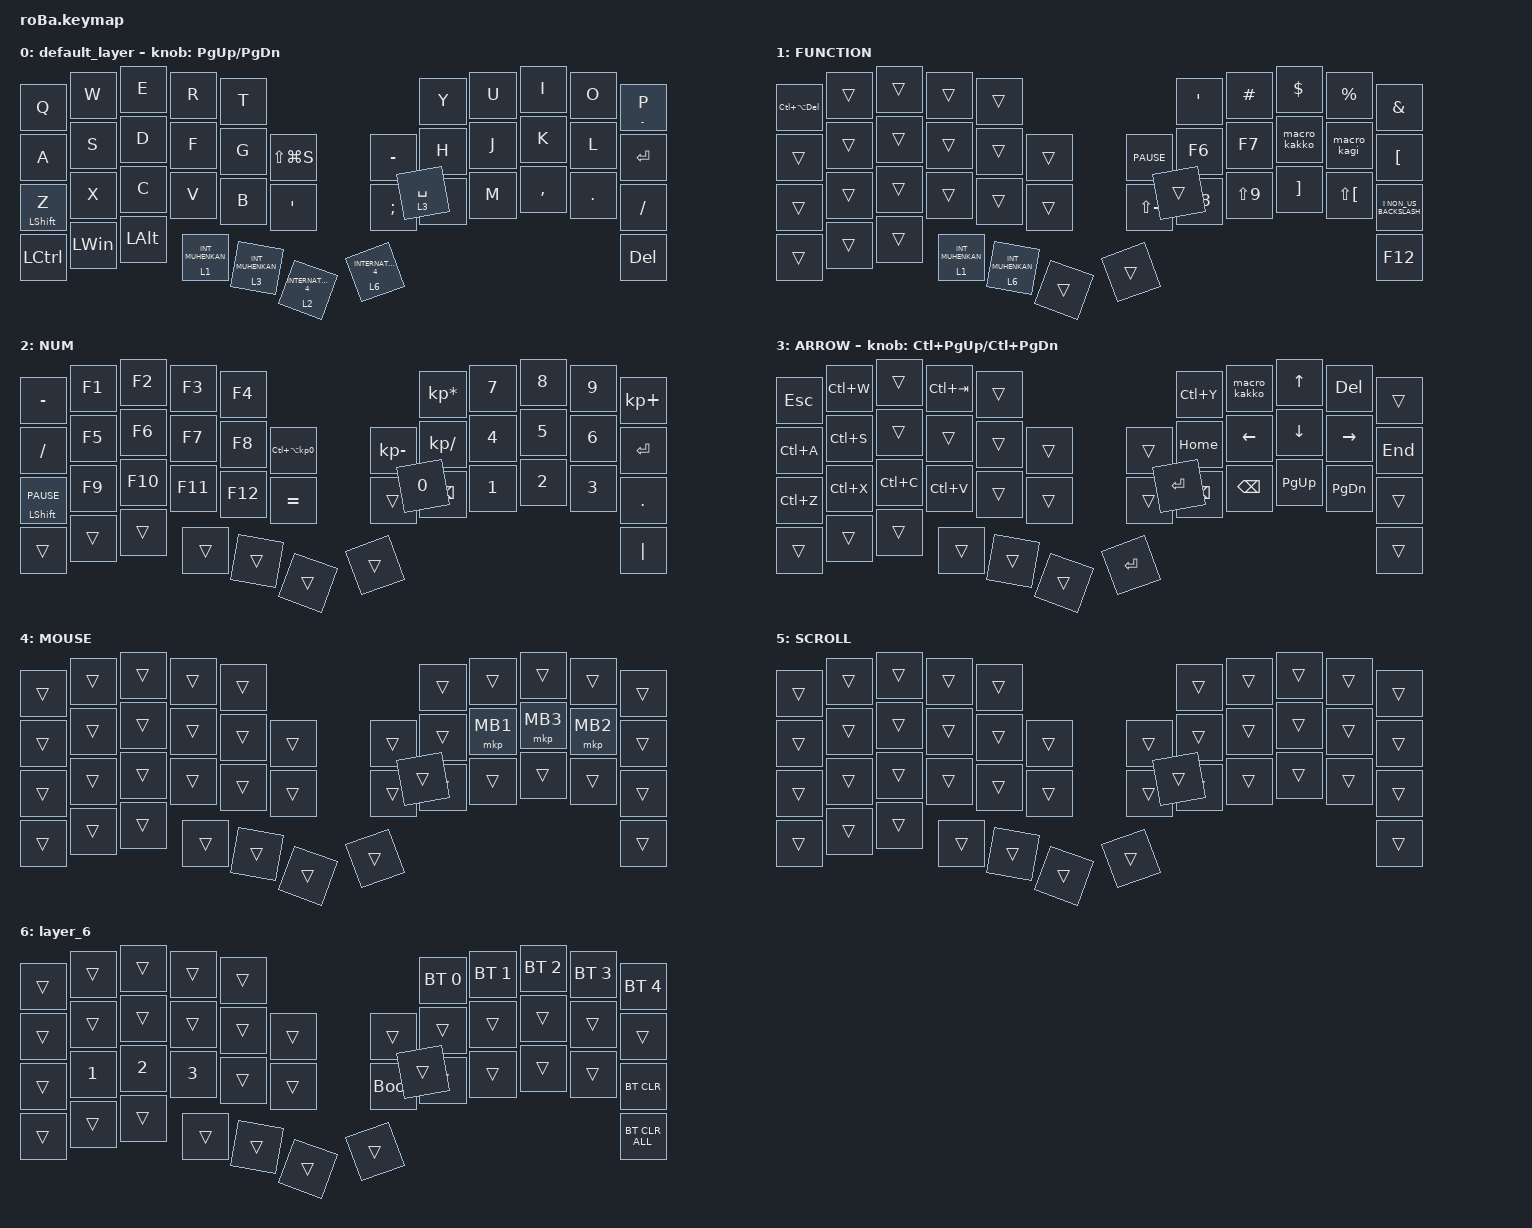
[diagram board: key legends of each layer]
#include <behaviors.dtsi>
#include <dt-bindings/zmk/bt.h>
#include <dt-bindings/zmk/keys.h>
#include <dt-bindings/zmk/pointing.h>

&mt {
    flavor = "tap-preferred";
    quick-tap-ms = <0>;
    tapping-term-ms = <280>;
};

&trackball {
    automouse-layer = <4>;
    scroll-layers = <5>;

    // arrows {
    //     layers = <3>;
    //     bindings =
    //         <&kp RIGHT_ARROW>,
    //         <&kp LEFT_ARROW>,
    //         <&kp UP_ARROW>,
    //         <&kp DOWN_ARROW>;
    //     tick = <10>;
    //     wait-ms = <5>;
    //     tap-ms = <5>;
    // };
};

/ {
    combos {
        compatible = "zmk,combos";

        tab {
            bindings = <&kp TAB>;
            key-positions = <11 12>;
        };

        shift_tab {
            bindings = <&kp LS(TAB)>;
            key-positions = <12 13>;
        };

        muhennkann {
            bindings = <&to_layer_0 INT_MUHENKAN>;
            key-positions = <11 10>;
        };

        double_quotation {
            bindings = <&kp DOUBLE_QUOTES>;
            key-positions = <20 21>;
        };

        eq {
            bindings = <&kp EQUAL>;
            key-positions = <24 25>;
        };

        minus {
            bindings = <&kp MINUS>;
            key-positions = <9 8>;
        };
    };

    macros {
        to_layer_0: to_layer_0 {
            compatible = "zmk,behavior-macro-one-param";
            #binding-cells = <1>;
            bindings = <&to 0 &macro_param_1to1 &kp MACRO_PLACEHOLDER>;
            label = "TO_LAYER_0";
        };

        macro_kakko: macro_kakko {
            compatible = "zmk,behavior-macro";
            #binding-cells = <0>;
            bindings =
                <&kp LS(N8)>,
                <&macro_wait_time 15>,
                <&kp LS(N9)>,
                <&macro_wait_time 15>,
                <&kp RET>,
                <&macro_wait_time 15>,
                <&kp LEFT>;

            label = "MACRO_KAKKO";
        };

        macro_kagi: macro_kagi {
            compatible = "zmk,behavior-macro";
            #binding-cells = <0>;
            bindings =
                <&kp LEFT_BRACKET>,
                <&macro_wait_time 15>,
                <&kp RIGHT_BRACKET>,
                <&macro_wait_time 15>,
                <&kp RET>,
                <&macro_wait_time 15>,
                <&kp LEFT>;

            label = "MACRO_KAGI";
        };
    };

    behaviors {
        lt_to_layer_0: lt_to_layer_0 {
            compatible = "zmk,behavior-hold-tap";
            label = "LAYER_TAP_TO_0";
            bindings = <&mo>, <&to_layer_0>;

            #binding-cells = <2>;
            tapping-term-ms = <200>;
        };
    };

    keymap {
        compatible = "zmk,keymap";

        default_layer {
            bindings = <
&kp Q             &kp W         &kp E         &kp R                          &kp T                                                                                                  &kp Y                   &kp U  &kp I      &kp O    &mt MINUS P
&kp A             &kp S         &kp D         &kp F                          &kp G                          &kp LS(LG(S))                         &kp MINUS                         &kp H                   &kp J  &kp K      &kp L    &kp ENTER
&mt LEFT_SHIFT Z  &kp X         &kp C         &kp V                          &kp B                          &kp SINGLE_QUOTE                      &kp SEMICOLON                     &kp N                   &kp M  &kp COMMA  &kp DOT  &kp SLASH
&kp LCTRL         &kp LEFT_WIN  &kp LEFT_ALT  &lt_to_layer_0 1 INT_MUHENKAN  &lt_to_layer_0 3 INT_MUHENKAN  &lt_to_layer_0 2 INTERNATIONAL_4      &lt_to_layer_0 6 INTERNATIONAL_4  &lt_to_layer_0 3 SPACE                             &kp DEL
            >;

            sensor-bindings = <&inc_dec_kp PG_UP PAGE_DOWN>;
        };

        FUNCTION {
            bindings = <
&kp LC(LA(DEL))  &trans  &trans  &trans                         &trans                                                    &kp SINGLE_QUOTE  &kp POUND   &kp DOLLAR         &kp PERCENT           &kp AMPERSAND
&trans           &trans  &trans  &trans                         &trans                         &trans      &kp C_PAUSE    &kp F6            &kp F7      &macro_kakko       &macro_kagi           &kp LEFT_BRACKET
&trans           &trans  &trans  &trans                         &trans                         &trans      &kp LS(MINUS)  &kp LS(N8)        &kp LS(N9)  &kp RIGHT_BRACKET  &kp LS(LEFT_BRACKET)  &kp LS(NON_US_BACKSLASH)
&trans           &trans  &trans  &lt_to_layer_0 1 INT_MUHENKAN  &lt_to_layer_0 6 INT_MUHENKAN  &trans      &trans         &trans                                                                 &kp F12
            >;
        };

        NUM {
            bindings = <
&kp MINUS               &kp F1  &kp F2   &kp F3   &kp F4                                              &kp KP_ASTERISK  &kp NUMBER_7  &kp NUMBER_8  &kp NUMBER_9  &kp KP_PLUS
&kp SLASH               &kp F5  &kp F6   &kp F7   &kp F8   &kp LC(LA(KP_NUMBER_0))      &kp KP_MINUS  &kp KP_DIVIDE    &kp NUMBER_4  &kp NUMBER_5  &kp NUMBER_6  &kp RET
&mt LEFT_SHIFT C_PAUSE  &kp F9  &kp F10  &kp F11  &kp F12  &kp EQUAL                    &trans        &kp BACKSPACE    &kp NUMBER_1  &kp NUMBER_2  &kp NUMBER_3  &kp PERIOD
&trans                  &trans  &trans   &trans   &trans   &trans                       &trans        &kp NUMBER_0                                               &kp PIPE
            >;
        };

        ARROW {
            bindings = <
&kp ESCAPE  &kp LC(W)  &trans     &kp LC(TAB)  &trans                         &kp LC(Y)      &macro_kakko    &kp UP_ARROW    &kp DELETE     &trans
&kp LC(A)   &kp LC(S)  &trans     &trans       &trans  &trans      &trans     &kp HOME       &kp LEFT_ARROW  &kp DOWN_ARROW  &kp RIGHT      &kp END
&kp LC(Z)   &kp LC(X)  &kp LC(C)  &kp LC(V)    &trans  &trans      &trans     &kp BACKSPACE  &kp BACKSPACE   &kp PAGE_UP     &kp PAGE_DOWN  &trans
&trans      &trans     &trans     &trans       &trans  &trans      &kp ENTER  &kp ENTER                                                     &trans
            >;

            sensor-bindings = <&inc_dec_kp LC(PAGE_UP) LC(PAGE_DOWN)>;
        };

        MOUSE {
            bindings = <
&trans  &trans  &trans  &trans  &trans                      &trans  &trans    &trans    &trans    &trans
&trans  &trans  &trans  &trans  &trans  &trans      &trans  &trans  &mkp MB1  &mkp MB3  &mkp MB2  &trans
&trans  &trans  &trans  &trans  &trans  &trans      &trans  &trans  &trans    &trans    &trans    &trans
&trans  &trans  &trans  &trans  &trans  &trans      &trans  &trans                                &trans
            >;
        };

        SCROLL {
            bindings = <
&trans  &trans  &trans  &trans  &trans                      &trans  &trans  &trans  &trans  &trans
&trans  &trans  &trans  &trans  &trans  &trans      &trans  &trans  &trans  &trans  &trans  &trans
&trans  &trans  &trans  &trans  &trans  &trans      &trans  &trans  &trans  &trans  &trans  &trans
&trans  &trans  &trans  &trans  &trans  &trans      &trans  &trans                          &trans
            >;
        };

        layer_6 {
            bindings = <
&trans  &trans        &trans        &trans        &trans                           &bt BT_SEL 0  &bt BT_SEL 1  &bt BT_SEL 2  &bt BT_SEL 3  &bt BT_SEL 4
&trans  &trans        &trans        &trans        &trans  &trans      &trans       &trans        &trans        &trans        &trans        &trans
&trans  &kp NUMBER_1  &kp NUMBER_2  &kp NUMBER_3  &trans  &trans      &bootloader  &trans        &trans        &trans        &trans        &bt BT_CLR
&trans  &trans        &trans        &trans        &trans  &trans      &trans       &trans                                                  &bt BT_CLR_ALL
            >;
        };
    };
};
